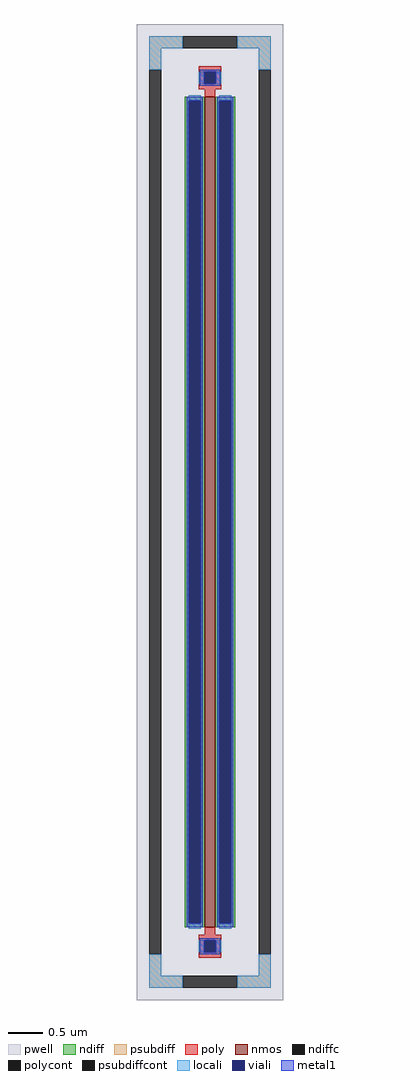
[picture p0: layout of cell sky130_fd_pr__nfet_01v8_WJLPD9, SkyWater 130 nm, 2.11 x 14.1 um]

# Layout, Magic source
magic
tech sky130A
magscale 1 2
<< pwell >>
rect -211 -1410 211 1410
<< nmos >>
rect -15 -1200 15 1200
<< ndiff >>
rect -73 1188 -15 1200
rect -73 -1188 -61 1188
rect -27 -1188 -15 1188
rect -73 -1200 -15 -1188
rect 15 1188 73 1200
rect 15 -1188 27 1188
rect 61 -1188 73 1188
rect 15 -1200 73 -1188
<< ndiffc >>
rect -61 -1188 -27 1188
rect 27 -1188 61 1188
<< psubdiff >>
rect -175 1340 -79 1374
rect 79 1340 175 1374
rect -175 1278 -141 1340
rect 141 1278 175 1340
rect -175 -1340 -141 -1278
rect 141 -1340 175 -1278
rect -175 -1374 -79 -1340
rect 79 -1374 175 -1340
<< psubdiffcont >>
rect -79 1340 79 1374
rect -175 -1278 -141 1278
rect 141 -1278 175 1278
rect -79 -1374 79 -1340
<< poly >>
rect -33 1272 33 1288
rect -33 1238 -17 1272
rect 17 1238 33 1272
rect -33 1222 33 1238
rect -15 1200 15 1222
rect -15 -1222 15 -1200
rect -33 -1238 33 -1222
rect -33 -1272 -17 -1238
rect 17 -1272 33 -1238
rect -33 -1288 33 -1272
<< polycont >>
rect -17 1238 17 1272
rect -17 -1272 17 -1238
<< locali >>
rect -175 1340 -79 1374
rect 79 1340 175 1374
rect -175 1278 -141 1340
rect 141 1278 175 1340
rect -33 1238 -17 1272
rect 17 1238 33 1272
rect -61 1188 -27 1204
rect -61 -1204 -27 -1188
rect 27 1188 61 1204
rect 27 -1204 61 -1188
rect -33 -1272 -17 -1238
rect 17 -1272 33 -1238
rect -175 -1340 -141 -1278
rect 141 -1340 175 -1278
rect -175 -1374 -79 -1340
rect 79 -1374 175 -1340
<< viali >>
rect -17 1238 17 1272
rect -61 -1188 -27 1188
rect 27 -1188 61 1188
rect -17 -1272 17 -1238
<< metal1 >>
rect -29 1272 29 1278
rect -29 1238 -17 1272
rect 17 1238 29 1272
rect -29 1232 29 1238
rect -67 1188 -21 1200
rect -67 -1188 -61 1188
rect -27 -1188 -21 1188
rect -67 -1200 -21 -1188
rect 21 1188 67 1200
rect 21 -1188 27 1188
rect 61 -1188 67 1188
rect 21 -1200 67 -1188
rect -29 -1238 29 -1232
rect -29 -1272 -17 -1238
rect 17 -1272 29 -1238
rect -29 -1278 29 -1272
<< properties >>
string FIXED_BBOX -158 -1357 158 1357
string gencell sky130_fd_pr__nfet_01v8
string library sky130
string parameters w 12.0 l 0.15 m 1 nf 1 diffcov 100 polycov 100 guard 1 glc 1 grc 1 gtc 1 gbc 1 tbcov 100 rlcov 100 topc 1 botc 1 poverlap 0 doverlap 1 lmin 0.15 wmin 0.42 compatible {sky130_fd_pr__nfet_01v8 sky130_fd_pr__nfet_01v8_lvt  sky130_fd_bs_flash__special_sonosfet_star  sky130_fd_pr__nfet_g5v0d10v5 sky130_fd_pr__nfet_05v0_nvt  sky130_fd_pr__nfet_03v3_nvt} full_metal 1 viasrc 100 viadrn 100 viagate 100 viagb 0 viagr 0 viagl 0 viagt 0
<< end >>
